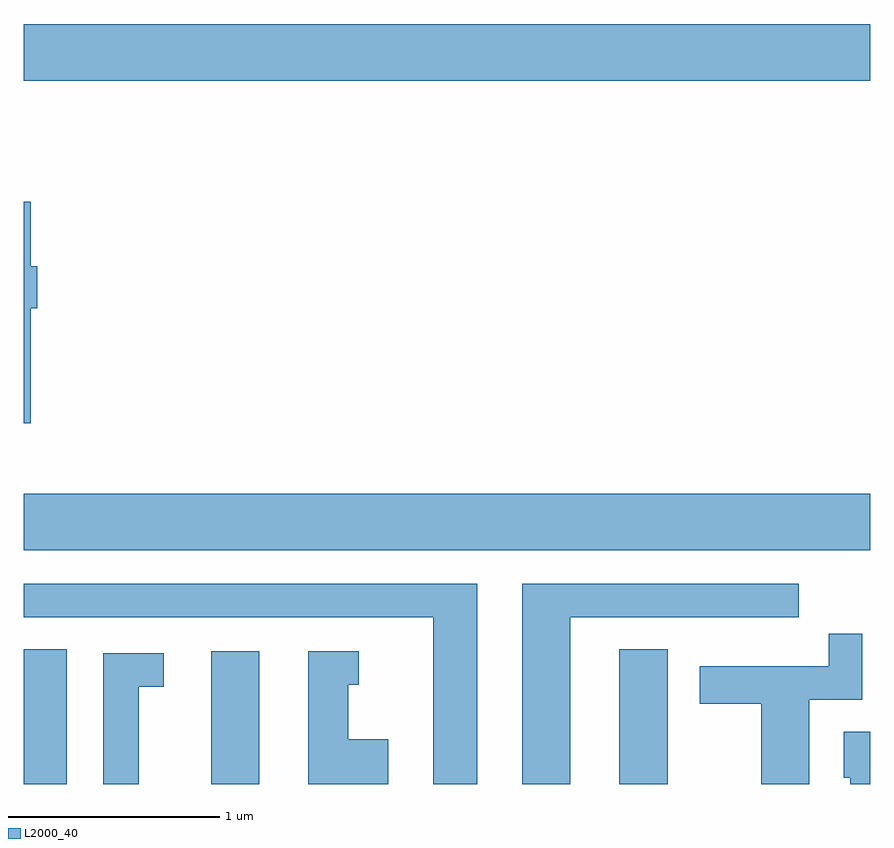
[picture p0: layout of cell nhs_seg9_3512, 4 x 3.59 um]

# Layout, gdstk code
import gdstk
lib = gdstk.Library(unit=1e-6, precision=1e-09)
def R(c, l, rs):  # rectangles x0, y0, x1, y1
    for r in rs: c.add(gdstk.rectangle(r[:2], r[2:], *l))
def P(c, l, *ps):  # polygons
    for p in ps: c.add(gdstk.Polygon(p, *l))
L2000_40 = (2000, 40)

nhs_seg9_3512 = lib.new_cell('nhs_seg9_3512')
R(nhs_seg9_3512, L2000_40, [(287.611,2048.432,287.814,2049.069), (288.496,2048.432,288.724,2049.059), (290.426,2048.432,290.654,2049.069), (287.611,2049.536,291.611,2049.804), (287.611,2051.756,291.611,2052.024)])
P(nhs_seg9_3512, L2000_40, [(287.644,2050.681),(287.674,2050.681),(287.674,2050.879),(287.644,2050.879),(287.644,2051.184),(287.611,2051.184),(287.611,2050.136),(287.644,2050.136)],
  [(290.194,2049.221),(291.273,2049.221),(291.273,2049.379),(289.966,2049.379),(289.966,2048.432),(290.194,2048.432)],
  [(289.754,2049.379),(287.611,2049.379),(287.611,2049.221),(289.546,2049.221),(289.546,2048.432),(289.754,2048.432)],
  [(291.324,2048.831),(291.574,2048.831),(291.574,2049.143),(291.416,2049.143),(291.416,2048.989),(290.806,2048.989),(290.806,2048.811),(291.096,2048.811),(291.096,2048.432),(291.324,2048.432)],
  [(289.334,2048.644),(289.144,2048.644),(289.144,2048.901),(289.193,2048.901),(289.193,2049.059),(288.956,2049.059),(288.956,2048.432),(289.334,2048.432)],
  [(288.154,2048.891),(288.273,2048.891),(288.273,2049.049),(287.986,2049.049),(287.986,2048.432),(288.154,2048.432)],
  [(291.611,2048.679),(291.486,2048.679),(291.486,2048.461),(291.516,2048.461),(291.516,2048.432),(291.611,2048.432)])

lib.write_gds('nhs_seg9_3512.gds')
